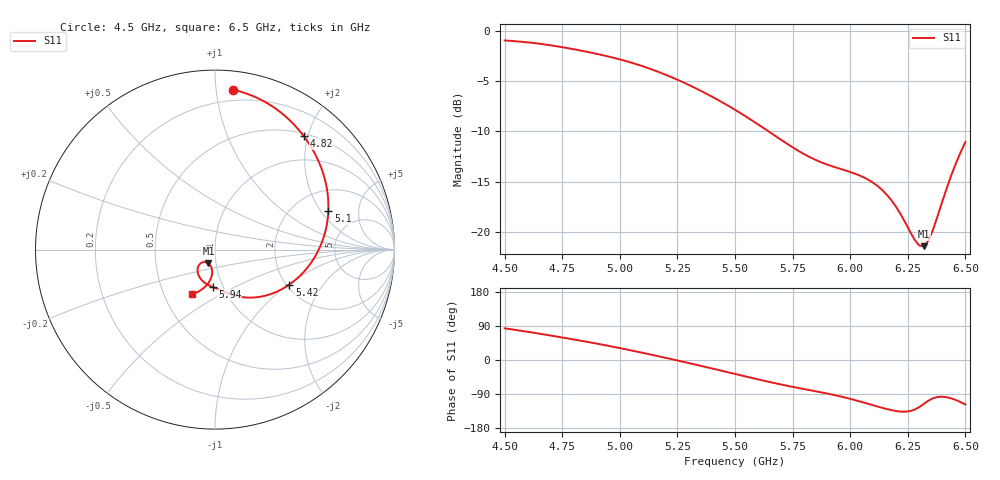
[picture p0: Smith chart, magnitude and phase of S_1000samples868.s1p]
! TOUCHSTONE file generated by CST MICROWAVE STUDIO
! Date and time: Sat Oct 29 15:47:47 2022
! Project name: L.cst
! Parameters = {Di=1.27; Epsilon_r=1.56; InnerDiameter=1.27; Length=2; Lf=10; Lg=60; OuterConductorThickness=0.2921; OuterDiameter=3.6; Wf=3; Wp=41.2; de=1.5; df=6.8; g=0.8; gx=2.03078; gy=3.4532; h=2.34; hf=1.524; px=12.5766; py=8.40703; w=9.7; wx=10.5458; wy=4.95383}
! Header version: 2018
! Port assignment regex: !\s*Touchstone port\s*([0-9]+)\s*=\s*(CST MWS port|CST DS port)\s*([0-9]+|Zmin|Zmax)\s*\(\"(.*)\"\)(\s*mode\s*([0-9]+))?.*
! Touchstone port assignment:
! Touchstone port 1 = CST MWS port 1 ("")
# GHz S DB R 50
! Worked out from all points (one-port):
!   101 points, 4.5 GHz to 6.5 GHz, reference 50 ohm
!   lowest |S11| = -21.4 dB at 6.32 GHz (marker M1), VSWR 1.19, Z = 45.9 - j7.09 ohm
!   |S11| at or under -10 dB: 5.646 GHz to end of sweep
!   S11 on the Smith chart (normalised r, x): 4.5 GHz: 0.12, +1.11; 4.82 GHz: 0.54, +1.93; 5.1 GHz: 3.05, +2.36; 5.42 GHz: 2.07, -1.02; 5.94 GHz: 0.89, -0.39; 6.5 GHz: 0.69, -0.37
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4.5  -0.95 83.6
4.62  -1.19 72.5
4.76  -1.66 58.4
4.82  -1.91 52.0
4.92  -2.38 40.9
5  -2.83 31.4
5.1  -3.52 18.8
5.18  -4.18 8.2
5.26  -4.95 -2.7
5.34  -5.82 -13.8
5.42  -6.79 -25.2
5.5  -7.84 -36.7
5.62  -9.60 -53.9
5.76  -11.72 -72.1
5.84  -12.72 -81.4
5.94  -13.60 -93.7
6  -14.03 -102.5
6.08  -14.82 -116.0
6.14  -15.84 -126.4
6.2  -17.52 -134.8
6.26  -19.97 -134.8
6.3  -21.35 -124.2
6.32  -21.41 -115.6
6.34  -20.83 -107.1
6.36  -19.73 -100.8
6.42  -15.57 -98.4
6.46  -13.11 -105.9
6.5  -11.05 -117.3
